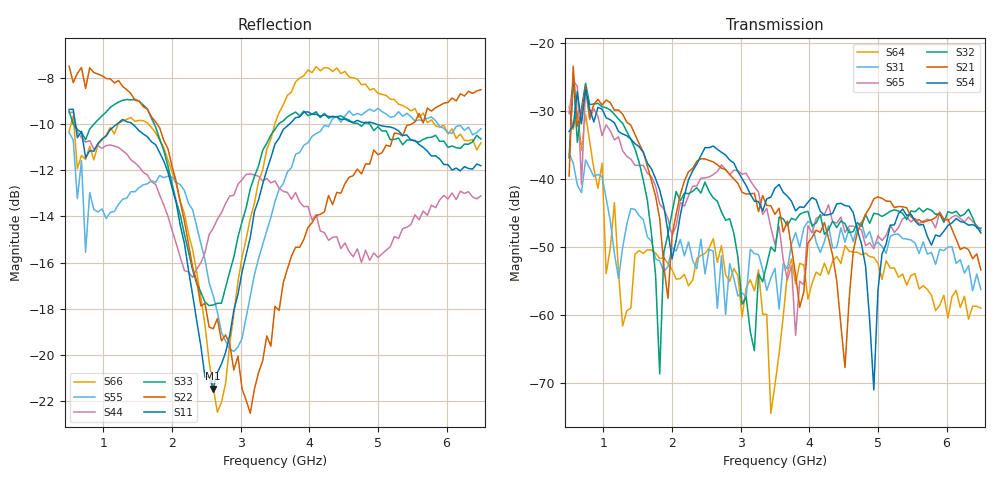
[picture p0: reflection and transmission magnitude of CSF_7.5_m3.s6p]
!Keysight Technologies,M9804A,MY58100912,A.14.10.03
!Date: Thursday, April 27, 2023 10:28:33
!Correction: S11(C  6-Port  )
!S12(C  6-Port  )
!S13(C  6-Port  )
!S14(C  6-Port  )
!S15(C  6-Port  )
!S16(C  6-Port  )
!S21(C  6-Port  )
!S22(C  6-Port  )
!S23(C  6-Port  )
!S24(C  6-Port  )
!S25(C  6-Port  )
!S26(C  6-Port  )
!S31(C  6-Port  )
!S32(C  6-Port  )
!S33(C  6-Port  )
!S34(C  6-Port  )
!S35(C  6-Port  )
!S36(C  6-Port  )
!S41(C  6-Port  )
!S42(C  6-Port  )
!S43(C  6-Port  )
!S44(C  6-Port  )
!S45(C  6-Port  )
!S46(C  6-Port  )
!S51(C  6-Port  )
!S52(C  6-Port  )
!S53(C  6-Port  )
!S54(C  6-Port  )
!S55(C  6-Port  )
!S56(C  6-Port  )
!S61(C  6-Port  )
!S62(C  6-Port  )
!S63(C  6-Port  )
!S64(C  6-Port  )
!S65(C  6-Port  )
!S66(C  6-Port  )
!S6P File: Measurement: :
# Hz S  RI  R 50
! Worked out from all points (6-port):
!   101 points, 500 MHz to 6.5 GHz, reference 50 ohm
!   strongest paths, dB at 500 MHz, 2 GHz, 3.5 GHz, 5 GHz, 6.5 GHz:
!     S54: -33.0, -51.8, -41.4, -56.4, -47.9
!     S21: -39.6, -48.3, -45.2, -42.6, -53.4
!     S32: -36.9, -44.9, -50.7, -45.2, -47.2
!     S65: -30.4, -48.3, -49.7, -48.4, -47.6
!     S31: -36.3, -50.1, -53.2, -49.3, -56.3
!     S64: -29.4, -53.3, -70.2, -52.4, -59.0
!   lowest |S11| = -21.4 dB at 2.6 GHz (marker M1), VSWR 1.19, Z = 42.5 + j2.17 ohm
!   |S11| at or under -10 dB: 591.1 MHz to 1.199 GHz (607.7 MHz wide, 67.9 % of centre); 1.422 GHz to 3.712 GHz (2.29 GHz wide, 89.2 % of centre); 4.971 GHz to end of sweep
